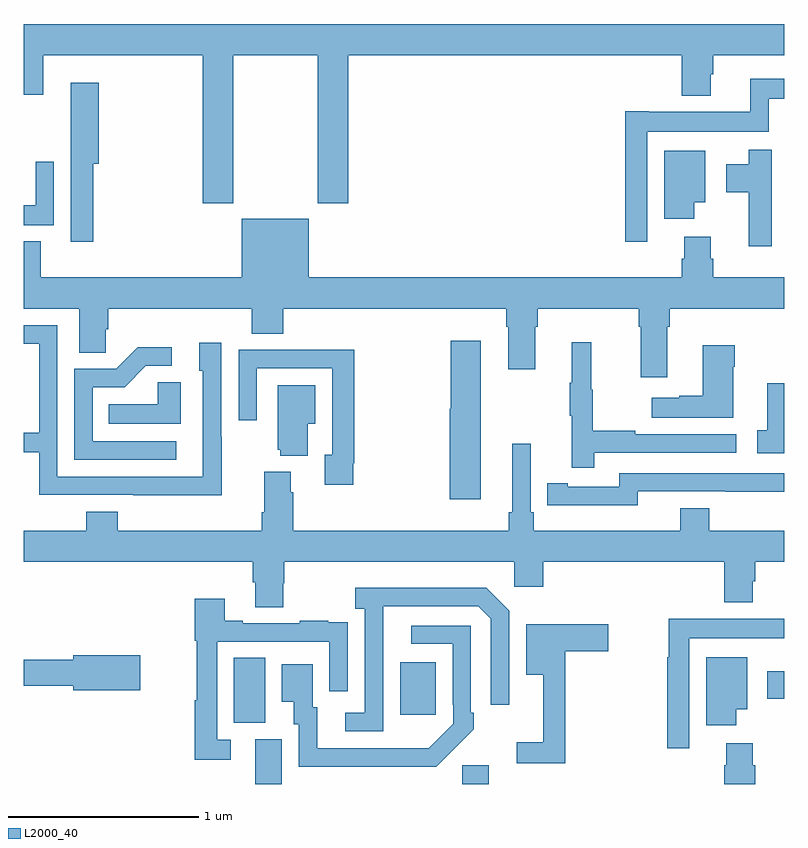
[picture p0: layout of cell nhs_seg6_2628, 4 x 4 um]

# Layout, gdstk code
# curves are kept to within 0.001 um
import gdstk
lib = gdstk.Library(unit=1e-6, precision=1e-09)
def R(c, l, rs):  # rectangles x0, y0, x1, y1
    for r in rs: c.add(gdstk.rectangle(r[:2], r[2:], *l))
def P(c, l, *ps):  # polygons
    for p in ps: c.add(gdstk.Polygon(p, *l))
L2000_40 = (2000, 40)

nhs_seg6_2628 = lib.new_cell('nhs_seg6_2628')
R(nhs_seg6_2628, L2000_40, [(268.217,947.5,268.357,947.736), (269.307,947.5,269.446,947.598), (268.106,947.821,268.27,948.164), (268.979,947.865,269.167,948.139), (270.909,947.947,271,948.094)])
P(nhs_seg6_2628, L2000_40, [(268.101,951.332),(268.546,951.332),(268.546,950.553),(268.706,950.553),(268.706,951.332),(270.461,951.332),(270.461,951.119),(270.613,951.119),(270.613,951.231),(270.626,951.231),(270.626,951.332),(271,951.332),(271,951.496),(267,951.496),(267,951.124),(267.104,951.124),(267.104,951.332),(267.941,951.332),(267.941,950.553),(268.101,950.553)],
  [(270.279,950.93),(270.918,950.93),(270.918,951.104),(271,951.104),(271,951.208),(270.821,951.208),(270.821,951.034),(270.286,951.034),(270.286,951.037),(270.163,951.037),(270.163,950.352),(270.279,950.352)],
  [(267.365,950.762),(267.395,950.762),(267.395,951.187),(267.248,951.187),(267.248,950.866),(267.249,950.866),(267.249,950.352),(267.365,950.352)],
  [(270.934,950.836),(270.812,950.836),(270.812,950.758),(270.695,950.758),(270.695,950.611),(270.812,950.611),(270.812,950.328),(270.934,950.328)],
  [(270.526,950.558),(270.583,950.558),(270.583,950.83),(270.368,950.83),(270.368,950.472),(270.526,950.472)],
  [(267.159,950.773),(267.063,950.773),(267.063,950.542),(267,950.542),(267,950.438),(267.159,950.438)],
  [(270.385,949.904),(270.398,949.904),(270.398,950),(271,950),(271,950.164),(270.626,950.164),(270.626,950.262),(270.613,950.262),(270.613,950.377),(270.473,950.377),(270.473,950.262),(270.461,950.262),(270.461,950.164),(268.498,950.164),(268.498,950.473),(268.148,950.473),(268.148,950.164),(267.091,950.164),(267.091,950.353),(267,950.353),(267,950),(267.293,950),(267.293,949.768),(267.432,949.768),(267.432,949.891),(267.446,949.891),(267.446,950),(268.199,950),(268.199,949.867),(268.364,949.867),(268.364,950),(269.537,950),(269.537,949.904),(269.549,949.904),(269.549,949.68),(269.689,949.68),(269.689,949.904),(269.702,949.904),(269.702,950),(270.233,950),(270.233,949.904),(270.245,949.904),(270.245,949.638),(270.385,949.638)],
  [(268.041,949.325),(268.038,949.325),(268.038,949.819),(267.923,949.819),(267.923,949.674),(267.942,949.674),(267.942,949.116),(267.177,949.116),(267.177,949.911),(267,949.911),(267,949.815),(267.081,949.815),(267.081,949.346),(267,949.346),(267,949.245),(267.081,949.245),(267.081,949.02),(267.577,949.02),(267.577,949.019),(268.041,949.019)],
  [(269.404,949.831),(269.246,949.831),(269.246,949.473),(269.24,949.473),(269.24,948.996),(269.404,948.996)],
  [(269.999,949.242),(270.748,949.242),(270.748,949.338),(270.215,949.338),(270.215,949.358),(269.992,949.358),(269.992,949.572),(269.984,949.572),(269.984,949.822),(269.882,949.822),(269.882,949.609),(269.871,949.609),(269.871,949.435),(269.882,949.435),(269.882,949.164),(269.999,949.164)],
  [(270.73,949.694),(270.738,949.694),(270.738,949.807),(270.572,949.807),(270.572,949.541),(270.446,949.541),(270.446,949.531),(270.303,949.531),(270.303,949.427),(270.73,949.427)],
  [(267.802,949.302),(267.363,949.302),(267.363,949.587),(267.532,949.587),(267.643,949.698),(267.778,949.698),(267.778,949.796),(267.599,949.796),(267.486,949.683),(267.267,949.683),(267.267,949.206),(267.802,949.206)],
  [(268.732,949.186),(268.739,949.186),(268.739,949.784),(268.447,949.784),(268.447,949.782),(268.131,949.782),(268.131,949.413),(268.227,949.413),(268.227,949.686),(268.623,949.686),(268.623,949.23),(268.583,949.23),(268.583,949.074),(268.732,949.074)],
  [(267.826,949.613),(267.705,949.613),(267.705,949.498),(267.448,949.498),(267.448,949.394),(267.826,949.394)],
  [(271,949.606),(270.911,949.606),(270.911,949.359),(270.858,949.359),(270.858,949.239),(271,949.239)],
  [(268.495,949.394),(268.534,949.394),(268.534,949.597),(268.337,949.597),(268.337,949.257),(268.349,949.257),(268.349,949.226),(268.495,949.226)],
  [(268.365,948.555),(268.37,948.555),(268.37,948.668),(269.58,948.668),(269.58,948.537),(269.732,948.537),(269.732,948.668),(270.683,948.668),(270.683,948.455),(270.835,948.455),(270.835,948.567),(270.848,948.567),(270.848,948.668),(271,948.668),(271,948.832),(270.605,948.832),(270.605,948.949),(270.452,948.949),(270.452,948.832),(269.681,948.832),(269.681,948.928),(269.667,948.928),(269.667,949.288),(269.57,949.288),(269.57,948.928),(269.551,948.928),(269.551,948.832),(268.418,948.832),(268.418,949.034),(268.405,949.034),(268.405,949.141),(268.265,949.141),(268.265,948.928),(268.253,948.928),(268.253,948.832),(267.494,948.832),(267.494,948.931),(267.329,948.931),(267.329,948.832),(267,948.832),(267,948.668),(268.205,948.668),(268.205,948.562),(268.217,948.562),(268.217,948.43),(268.365,948.43)],
  [(270.228,949.038),(270.688,949.038),(270.688,949.037),(271,949.037),(271,949.134),(270.132,949.134),(270.132,949.062),(269.86,949.062),(269.86,949.082),(269.752,949.082),(269.752,948.966),(269.86,948.966),(269.86,948.965),(270.228,948.965)],
  [(268.89,948.235),(268.891,948.435),(269.391,948.435),(269.457,948.369),(269.457,947.916),(269.553,947.916),(269.553,948.411),(269.432,948.532),(268.743,948.532),(268.743,948.422),(268.794,948.422),(268.794,947.874),(268.692,947.874),(268.692,947.778),(268.89,947.778)],
  [(268.09,947.733),(268.017,947.733),(268.017,948.249),(268.608,948.249),(268.608,947.988),(268.704,947.988),(268.704,948.242),(268.703,948.242),(268.703,948.351),(268.601,948.351),(268.601,948.358),(268.453,948.358),(268.453,948.345),(268.153,948.345),(268.153,948.358),(268.057,948.358),(268.057,948.475),(267.901,948.475),(267.901,948.252),(267.909,948.252),(267.909,947.94),(267.901,947.94),(267.901,947.628),(268.09,947.628)],
  [(270.501,948.266),(271,948.266),(271,948.37),(270.393,948.37),(270.393,948.166),(270.385,948.166),(270.385,947.688),(270.501,947.688)],
  [(269.849,948.197),(270.073,948.197),(270.073,948.339),(269.642,948.339),(269.642,948.074),(269.732,948.074),(269.732,947.719),(269.592,947.719),(269.592,947.61),(269.849,947.61)],
  [(269.261,947.683),(269.262,947.682),(269.367,947.787),(269.367,947.875),(269.352,947.875),(269.352,948.333),(269.037,948.333),(269.037,948.237),(269.256,948.237),(269.256,947.917),(269.259,947.917),(269.259,947.817),(269.131,947.689),(268.543,947.688),(268.543,947.904),(268.519,947.904),(268.519,948.13),(268.358,948.13),(268.358,947.933),(268.421,947.933),(268.421,947.814),(268.446,947.814),(268.446,947.592),(269.17,947.592)],
  [(267.613,948.176),(267.26,948.176),(267.26,948.152),(267,948.152),(267,948.016),(267.26,948.016),(267.26,947.993),(267.613,947.993)],
  [(270.748,947.894),(270.805,947.894),(270.805,948.166),(270.59,948.166),(270.59,947.808),(270.748,947.808)],
  [(270.848,947.598),(270.835,947.598),(270.835,947.713),(270.695,947.713),(270.695,947.598),(270.683,947.598),(270.683,947.5),(270.848,947.5)])

lib.write_gds('nhs_seg6_2628.gds')
